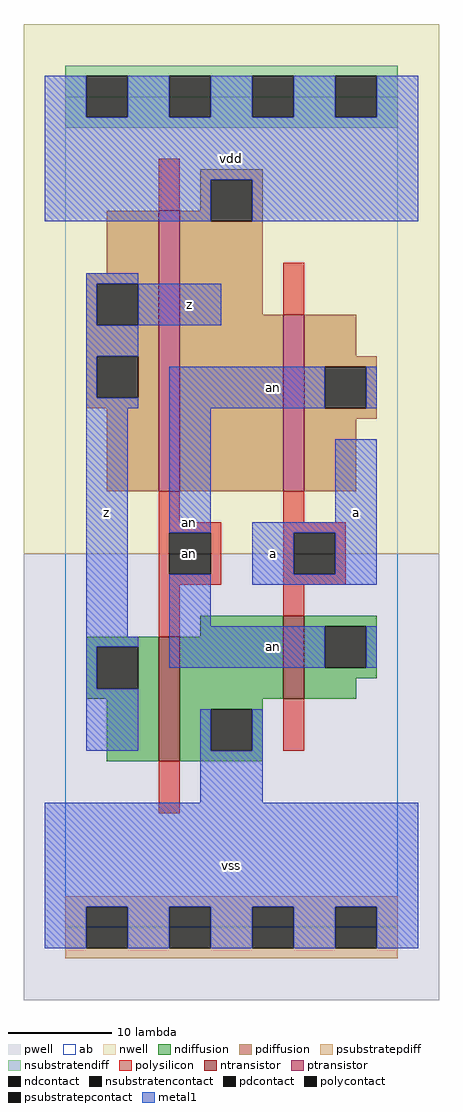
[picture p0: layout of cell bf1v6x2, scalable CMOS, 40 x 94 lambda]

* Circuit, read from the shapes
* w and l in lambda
.subckt bf1v6x2 a an vdd vss z
M1 vss an z vss nfet w=12 l=2
M2 an a vss vss nfet w=8 l=2
M3 vdd an z vdd pfet w=27 l=2
M4 an a vdd vdd pfet w=17 l=2
.ends

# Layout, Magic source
magic
tech scmos
<< ab >>
rect 0 0 32 80
<< pwell >>
rect -4 -7 36 36
<< nwell >>
rect -4 36 36 87
<< polysilicon >>
rect 9 69 11 74
rect 21 59 23 64
rect 9 39 11 42
rect 21 39 23 42
rect 9 38 15 39
rect 9 34 10 38
rect 14 34 15 38
rect 9 33 15 34
rect 21 38 27 39
rect 21 34 22 38
rect 26 34 27 38
rect 21 33 27 34
rect 9 28 11 33
rect 21 30 23 33
rect 21 17 23 22
rect 9 11 11 16
<< ndiffusion >>
rect 13 28 21 30
rect 2 27 9 28
rect 2 23 3 27
rect 7 23 9 27
rect 2 22 9 23
rect 4 16 9 22
rect 11 22 21 28
rect 23 29 30 30
rect 23 25 25 29
rect 29 25 30 29
rect 23 24 30 25
rect 23 22 28 24
rect 11 21 19 22
rect 11 17 14 21
rect 18 17 19 21
rect 11 16 19 17
<< pdiffusion >>
rect 13 72 19 73
rect 13 69 14 72
rect 4 63 9 69
rect 2 62 9 63
rect 2 58 3 62
rect 7 58 9 62
rect 2 55 9 58
rect 2 51 3 55
rect 7 51 9 55
rect 2 50 9 51
rect 4 42 9 50
rect 11 68 14 69
rect 18 68 19 72
rect 11 59 19 68
rect 11 42 21 59
rect 23 55 28 59
rect 23 54 30 55
rect 23 50 25 54
rect 29 50 30 54
rect 23 49 30 50
rect 23 42 28 49
<< metal1 >>
rect -2 78 2 82
rect 6 78 10 82
rect 14 78 18 82
rect 22 78 26 82
rect 30 78 34 82
rect -2 72 34 78
rect -2 68 14 72
rect 18 68 34 72
rect 2 62 7 63
rect 2 58 3 62
rect 7 58 15 62
rect 2 55 7 58
rect 2 51 3 55
rect 2 50 7 51
rect 10 50 25 54
rect 29 50 30 54
rect 2 28 6 50
rect 10 38 14 50
rect 26 39 30 47
rect 10 29 14 34
rect 18 38 30 39
rect 18 34 22 38
rect 26 34 30 38
rect 18 33 30 34
rect 2 27 7 28
rect 2 23 3 27
rect 10 25 25 29
rect 29 25 30 29
rect 2 17 7 23
rect 13 17 14 21
rect 18 17 19 21
rect 13 12 19 17
rect -2 2 34 12
rect -2 -2 2 2
rect 6 -2 10 2
rect 14 -2 18 2
rect 22 -2 26 2
rect 30 -2 34 2
<< ntransistor >>
rect 9 16 11 28
rect 21 22 23 30
<< ptransistor >>
rect 9 42 11 69
rect 21 42 23 59
<< polycontact >>
rect 10 34 14 38
rect 22 34 26 38
<< ndcontact >>
rect 3 23 7 27
rect 25 25 29 29
rect 14 17 18 21
<< pdcontact >>
rect 3 58 7 62
rect 3 51 7 55
rect 14 68 18 72
rect 25 50 29 54
<< psubstratepcontact >>
rect 2 -2 6 2
rect 10 -2 14 2
rect 18 -2 22 2
rect 26 -2 30 2
<< nsubstratencontact >>
rect 2 78 6 82
rect 10 78 14 82
rect 18 78 22 82
rect 26 78 30 82
<< psubstratepdiff >>
rect 0 2 32 3
rect 0 -2 2 2
rect 6 -2 10 2
rect 14 -2 18 2
rect 22 -2 26 2
rect 30 -2 32 2
rect 0 -3 32 -2
<< nsubstratendiff >>
rect 0 82 32 83
rect 0 78 2 82
rect 6 78 10 82
rect 14 78 18 82
rect 22 78 26 82
rect 30 78 32 82
rect 0 77 32 78
<< labels >>
rlabel polycontact 12 36 12 36 6 an
rlabel metal1 4 40 4 40 6 z
rlabel metal1 12 39 12 39 6 an
rlabel metal1 12 60 12 60 6 z
rlabel metal1 16 6 16 6 6 vss
rlabel metal1 20 36 20 36 6 a
rlabel metal1 16 74 16 74 6 vdd
rlabel metal1 20 27 20 27 6 an
rlabel metal1 28 40 28 40 6 a
rlabel metal1 20 52 20 52 6 an
<< end >>
